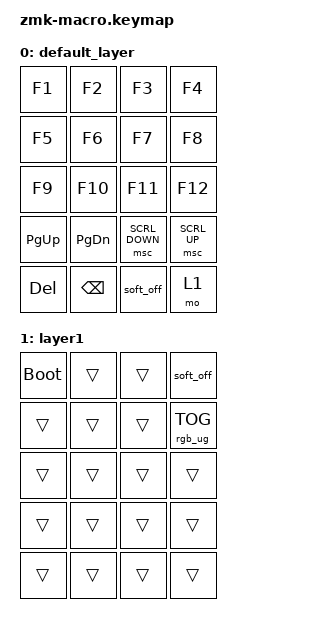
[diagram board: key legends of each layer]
/*
 * Copyright (c) 2021 Nick Winans
 *
 * SPDX-License-Identifier: MIT
 */

#include <behaviors.dtsi>
#include <dt-bindings/zmk/keys.h>
#include <dt-bindings/zmk/rgb.h>
#include <dt-bindings/zmk/bt.h>

#define ZMK_POINTING_DEFAULT_MOVE_VAL 3000  // default: 600
#define ZMK_POINTING_DEFAULT_SCRL_VAL 40    // default: 10

#include <dt-bindings/zmk/pointing.h>


&soft_off {
  hold-time-ms = <3000>; 
};

/ {
    keymap {
        compatible = "zmk,keymap";

        default_layer {
          bindings = <
            &kp F1     &kp F2     &kp F3     &kp F4
            &kp F5     &kp F6     &kp F7     &kp F8
            &kp F9     &kp F10    &kp F11    &kp F12
            &kp PG_UP  &kp PG_DN  &msc SCRL_DOWN   &msc SCRL_UP
            &kp DEL    &kp BSPC   &soft_off  &mo 1
          >;
        };

        layer1 {
          bindings = <
            &bootloader &trans      &trans    &soft_off
            &trans      &trans      &trans    &rgb_ug RGB_TOG
            &trans      &trans      &trans    &trans
            &trans      &trans      &trans    &trans
            &trans      &trans      &trans    &trans
          >;
      };        
    };
};
